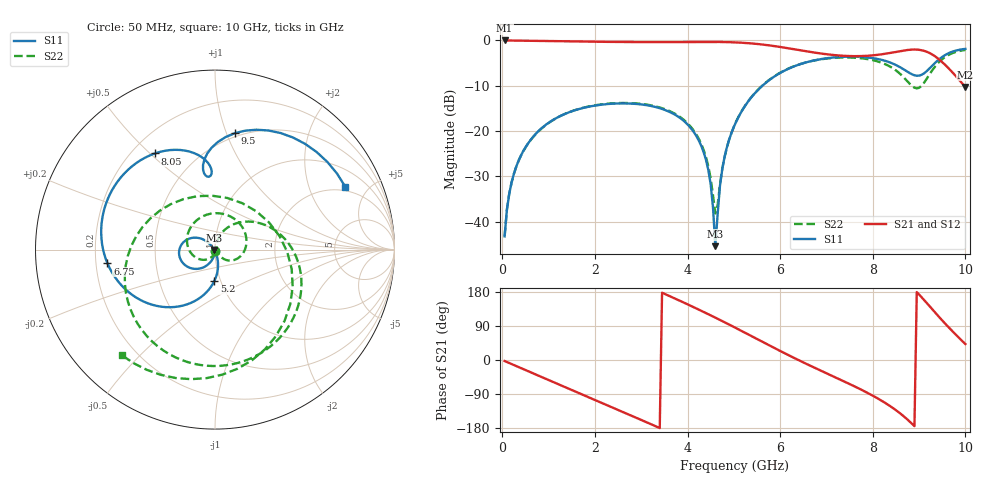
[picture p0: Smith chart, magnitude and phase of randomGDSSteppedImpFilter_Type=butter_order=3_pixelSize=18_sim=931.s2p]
! freq	dB(S11)	phase(S11)	dB(S12)	phase(S12)
!  dB(S21)	phase(S21)	dB(S22)	phase(S22)
!S-par simulation data
#  GHz  S  DB  R 50
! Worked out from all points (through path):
!   200 points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, 50 MHz to 10 GHz, reference 50 ohm
!   highest |S21| = -0.01 dB at 50 MHz (marker M1); lowest = -10.3 dB at 10 GHz (marker M2)
!   group delay of S21, straight-line fit = 173 ps
!   lowest |S11| = -45.4 dB at 4.6 GHz (marker M3), VSWR 1.01, Z = 49.5 - j0.163 ohm
!   |S11| at or under -10 dB: start of sweep to 5.617 GHz
!   |S22| runs from -43.2 to -2.1 dB; largest |S21 - S12| = 0
!   S11 on the Smith chart (normalised r, x): 50 MHz: 1.00, -0.01; 5.2 GHz: 0.93, -0.34; 6.75 GHz: 0.25, -0.06; 8.05 GHz: 0.29, +0.52; 9.5 GHz: 0.47, +1.07; 10 GHz: 1.77, +3.54
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0.05  -43.27 -91.7  -0.01 -2.7  -0.01 -2.7  -43.25 -91.5
0.2  -31.38 -96.7  -0.02 -10.7  -0.02 -10.7  -31.40 -104.0
0.5  -23.63 -107.6  -0.05 -26.5  -0.05 -26.5  -23.66 -126.2
1.75  -14.90 -147.7  -0.25 -92.0  -0.25 -92.0  -14.86 142.0
2.65  -13.91 -172.6  -0.35 -139.4  -0.35 -139.4  -13.81 72.8
3.4  -14.96 165.9  -0.37 -179.7  -0.37 -179.7  -14.81 15.2
4.3  -23.37 135.9  -0.33 129.7  -0.33 129.7  -22.95 -46.9
4.5  -31.80 133.5  -0.33 117.8  -0.33 117.8  -30.53 -48.2
4.6  -45.44 -162.0  -0.33 111.8  -0.33 111.8  -38.20 -3.2
4.75  -28.42 -74.1  -0.35 102.7  -0.35 102.7  -28.38 72.8
5.05  -17.94 -84.1  -0.44 84.1  -0.44 84.1  -17.93 63.1
5.2  -15.12 -91.3  -0.52 74.6  -0.52 74.6  -15.09 53.5
5.95  -7.48 -130.7  -1.36 27.0  -1.36 27.0  -7.43 1.7
6.7  -4.49 -170.1  -2.62 -17.9  -2.62 -17.9  -4.50 -47.4
6.75  -4.38 -172.7  -2.70 -20.8  -2.70 -20.8  -4.40 -50.5
7.45  -3.59 152.4  -3.43 -60.5  -3.43 -60.5  -3.76 -94.0
8.05  -3.99 122.1  -3.24 -97.5  -3.24 -97.5  -4.48 -136.3
8.35  -4.78 106.9  -2.81 -119.6  -2.81 -119.6  -5.65 -164.3
8.95  -7.80 94.6  -2.02 179.2  -2.02 179.2  -10.58 76.7
9.25  -5.93 96.7  -2.91 138.7  -2.91 138.7  -7.12 -14.2
9.5  -3.64 80.4  -4.79 104.4  -4.79 104.4  -4.13 -63.4
10  -1.88 25.8  -10.26 42.1  -10.26 42.1  -2.11 -131.4
